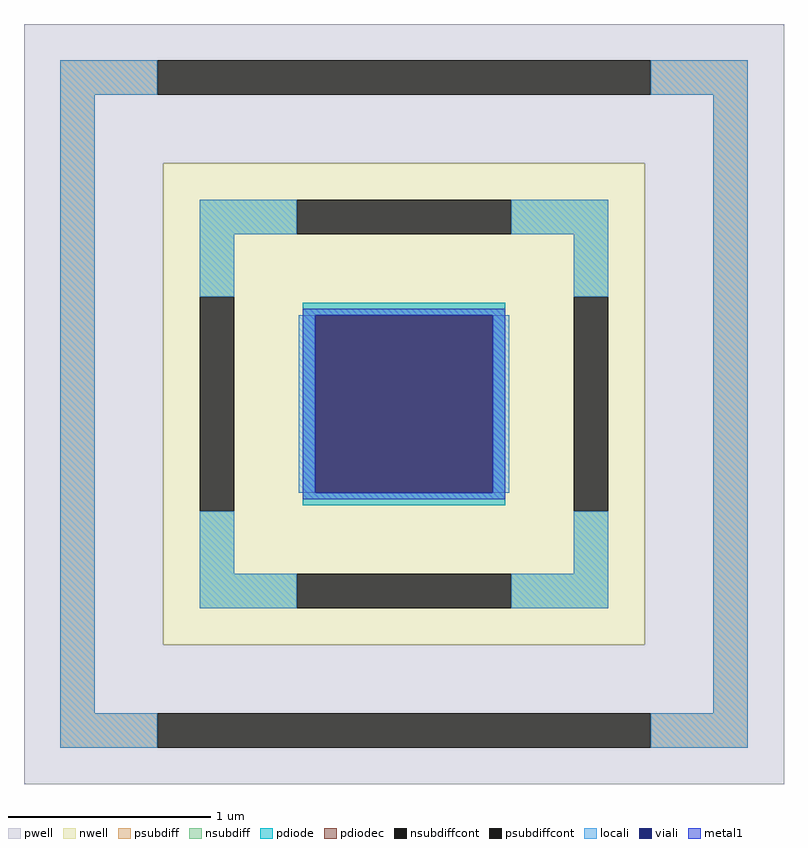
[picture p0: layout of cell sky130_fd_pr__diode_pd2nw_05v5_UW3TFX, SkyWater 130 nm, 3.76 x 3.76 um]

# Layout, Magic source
magic
tech sky130A
<< nwell >>
rect -119 -119 119 119
<< pwell >>
rect -188 119 188 188
rect -188 -119 -119 119
rect 119 -119 188 119
rect -188 -188 188 -119
<< psubdiff >>
rect -170 153 -122 170
rect 122 153 170 170
rect -170 -153 -153 153
rect 153 -153 170 153
rect -170 -170 -122 -153
rect 122 -170 170 -153
<< nsubdiff >>
rect -101 84 -53 101
rect 53 84 101 101
rect -101 53 -84 84
rect 84 53 101 84
rect -101 -84 -84 -53
rect 84 -84 101 -53
rect -101 -101 -53 -84
rect 53 -101 101 -84
<< psubdiffcont >>
rect -122 153 122 170
rect -122 -170 122 -153
<< nsubdiffcont >>
rect -53 84 53 101
rect -101 -53 -84 53
rect 84 -53 101 53
rect -53 -101 53 -84
<< pdiode >>
rect -50 44 50 50
rect -50 -44 -44 44
rect 44 -44 50 44
rect -50 -50 50 -44
<< pdiodec >>
rect -44 -44 44 44
<< locali >>
rect -170 153 -122 170
rect 122 153 170 170
rect -170 -153 -153 153
rect -101 84 -53 101
rect 53 84 101 101
rect -101 53 -84 84
rect 84 53 101 84
rect -52 -44 -44 44
rect 44 -44 52 44
rect -101 -84 -84 -53
rect 84 -84 101 -53
rect -101 -101 -53 -84
rect 53 -101 101 -84
rect 153 -153 170 153
rect -170 -170 -122 -153
rect 122 -170 170 -153
<< viali >>
rect -44 -44 44 44
<< metal1 >>
rect -50 44 50 47
rect -50 -44 -44 44
rect 44 -44 50 44
rect -50 -47 50 -44
<< properties >>
string FIXED_BBOX -92 -92 92 92
string gencell sky130_fd_pr__diode_pd2nw_05v5
string library sky130
string parameters w 1 l 1 area 1.0 peri 4.0 nx 1 ny 1 dummy 0 lmin 0.45 wmin 0.45 elc 1 erc 1 etc 1 ebc 1 glc 0 grc 0 gtc 1 gbc 1 doverlap 0 compatible {sky130_fd_pr__diode_pd2nw_05v5 sky130_fd_pr__diode_pd2nw_05v5_lvt  sky130_fd_pr__diode_pd2nw_05v5_hvt sky130_fd_pr__diode_pd2nw_11v0} full_metal 1 vias 1 viagb 0 viagt 0 viagl 0 viagr 0
<< end >>
